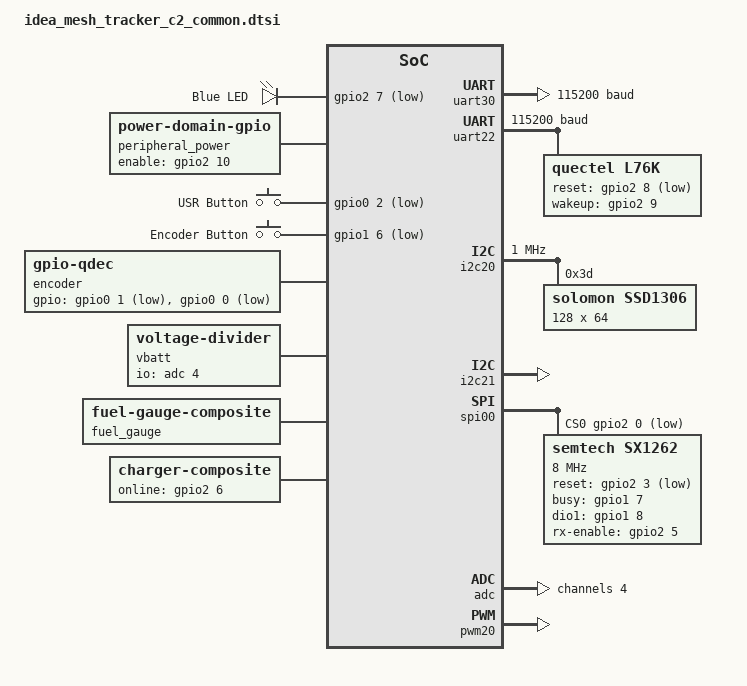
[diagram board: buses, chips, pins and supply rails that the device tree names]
/*
 * Copyright (c) 2026 FoBE Studio
 * SPDX-License-Identifier: Apache-2.0
 */

#include <zephyr/dt-bindings/adc/adc.h>
#include <zephyr/dt-bindings/input/input-event-codes.h>
#include <zephyr/dt-bindings/input/keymap.h>
#include <zephyr/dt-bindings/lora/sx126x.h>
#include <zephyr/dt-bindings/led/led.h>
#include <zephyr/dt-bindings/mipi_dbi/mipi_dbi.h>
#include "idea_mesh_tracker_c2-pinctrl.dtsi"

#define IDEA_MESH_TRACKER_C2_BATTERY_OCV_CURVE_GENERIC_1S \
	3300000 3686654 3741018 3775129 3793250 3820965 \
	3884009 3945074 4008118 4085934 4177454

/ {
	leds {
		compatible = "gpio-leds";

		led0: led_0 {
			label = "Blue LED";
			gpios = <&gpio2 7 GPIO_ACTIVE_LOW>;
		};
	};

	peripheral_power: peripheral_power {
		compatible = "power-domain-gpio";
		#power-domain-cells = <0>;
		enable-gpios = <&gpio2 10 GPIO_ACTIVE_HIGH>;
		startup-delay-us = <10000>;
	};

	buttons: buttons {
		compatible = "gpio-keys";
		zephyr,suspend-action = "none";

		button0: usr_button {
			gpios = <&gpio0 2 (GPIO_PULL_UP | GPIO_ACTIVE_LOW)>;
			label = "USR Button";
			zephyr,code = <INPUT_KEY_0>;
		};

		button1: encoder_button {
			gpios = <&gpio1 6 GPIO_ACTIVE_LOW>;
			label = "Encoder Button";
			zephyr,code = <INPUT_KEY_1>;
		};
	};

	encoder: encoder {
		compatible = "gpio-qdec";
		gpios = <&gpio0 1 GPIO_ACTIVE_LOW>,
				<&gpio0 0 GPIO_ACTIVE_LOW>;
		zephyr,axis = <INPUT_REL_WHEEL>;
		steps-per-period = <4>;
		sample-time-us = <2000>;
		idle-timeout-ms = <200>;
		power-domains = <&peripheral_power>;
	};

	vbatt: vbatt {
		status = "okay";
		compatible = "voltage-divider";
		io-channels = <&adc 4>;
		output-ohms = <1500000>;
		full-ohms = <(1000000 + 1500000)>;
	};

	fuel_gauge: fuel_gauge {
		compatible = "zephyr,fuel-gauge-composite";
		source-primary = <&vbatt>;
		/*
		 * Generic protected 1S 4.20 V Li-ion/LiPo estimate.
		 * 0% is the product active-empty point, not the cell cutoff.
		 */
		device-chemistry = "lithium-ion";
		ocv-capacity-table-0 =
			<IDEA_MESH_TRACKER_C2_BATTERY_OCV_CURVE_GENERIC_1S>;
	};

	charger: charger {
		compatible = "zephyr,charger-composite";
		source-primary = <&fuel_gauge>;
		constant-charge-voltage-max-microvolt = <4200000>;
		/* USB VBUS divider output, asserted while external power is present. */
		online-gpios = <&gpio2 6 GPIO_ACTIVE_HIGH>;
	};

	aliases {
		mcuboot-led0 = &led0;
		mcuboot-button0 = &button0;
		led0 = &led0;
		button0 = &button0;
		watchdog0 = &wdt31;
		lora0 = &sx1262;
	};
};

&uart30 {
	status = "okay";
	current-speed = <115200>;
	pinctrl-0 = <&uart30_default>;
	pinctrl-1 = <&uart30_sleep>;
	pinctrl-names = "default", "sleep";
};

&uart22 {
	status = "okay";
	current-speed = <115200>;
	pinctrl-0 = <&uart22_default>;
	pinctrl-1 = <&uart22_sleep>;
	pinctrl-names = "default", "sleep";

	l76k: l76k {
		status = "okay";
		compatible = "quectel,l76k";
		reset-gpios = <&gpio2 8 GPIO_ACTIVE_LOW>;
		wakeup-gpios = <&gpio2 9 GPIO_ACTIVE_HIGH>;
		power-domains = <&peripheral_power>;
	};
};

&i2c20 {
	status = "okay";
	pinctrl-0 = <&i2c20_default>;
	pinctrl-1 = <&i2c20_sleep>;
	pinctrl-names = "default", "sleep";
	clock-frequency = <I2C_BITRATE_FAST_PLUS>;
	/* Needed by i2c_nrfx_twim when concatenating a 1-byte control field + payload (e.g. SSD1306 full-line writes). */
	zephyr,concat-buf-size = <256>;
	zephyr,flash-buf-max-size = <256>;

	ssd1306: ssd1306@3d {
		/* Zephyr renamed the compatible from "solomon,ssd1306fb" -> "solomon,ssd1306". */
		compatible = "solomon,ssd1306";
		reg = <0x3d>;
		width = <128>;
		height = <64>;
		segment-offset = <0>;
		page-offset = <0>;
		display-offset = <0>;
		multiplex-ratio = <63>;
		segment-remap;
		com-invdir;
		prechargep = <0x22>;
		power-domains = <&peripheral_power>;
	};

};

&i2c21 {
	status = "okay";
	pinctrl-0 = <&i2c21_default>;
	pinctrl-1 = <&i2c21_sleep>;
	pinctrl-names = "default", "sleep";
};

&spi00 {
	status = "okay";
	pinctrl-0 = <&spi00_default>;
	pinctrl-1 = <&spi00_sleep>;
	pinctrl-names = "default", "sleep";
	cs-gpios = <&gpio2 0 GPIO_ACTIVE_LOW>;

	sx1262: sx1262@0 {
		compatible = "semtech,sx1262";
		label = "sx1262";
		reg = <0>;
		reset-gpios = <&gpio2 3 GPIO_ACTIVE_LOW>;
		busy-gpios = <&gpio1 7 GPIO_ACTIVE_HIGH>;
		dio1-gpios = <&gpio1 8 GPIO_ACTIVE_HIGH>;
		dio2-tx-enable;
		dio3-tcxo-voltage = <SX126X_DIO3_TCXO_1V8>;
		rx-enable-gpios = <&gpio2 5 GPIO_ACTIVE_HIGH>;
		tcxo-power-startup-delay-ms = <5>;
		spi-max-frequency = <DT_FREQ_M(8)>;
		rx-boosted;
	};
};

&adc {
	status = "okay";
	#address-cells = <1>;
	#size-cells = <0>;

	channel@4 {
		reg = <4>;
		zephyr,gain = "ADC_GAIN_1_4";
		zephyr,reference = "ADC_REF_INTERNAL";
		zephyr,acquisition-time = <ADC_ACQ_TIME(ADC_ACQ_TIME_MICROSECONDS, 40)>;
		zephyr,input-positive = <NRF_SAADC_AIN4>;
		zephyr,resolution = <12>;
		zephyr,oversampling = <8>;
	};
};

&pwm20 {
	status = "okay";
	pinctrl-0 = <&pwm20_default>;
	pinctrl-1 = <&pwm20_sleep>;
	pinctrl-names = "default", "sleep";
};
